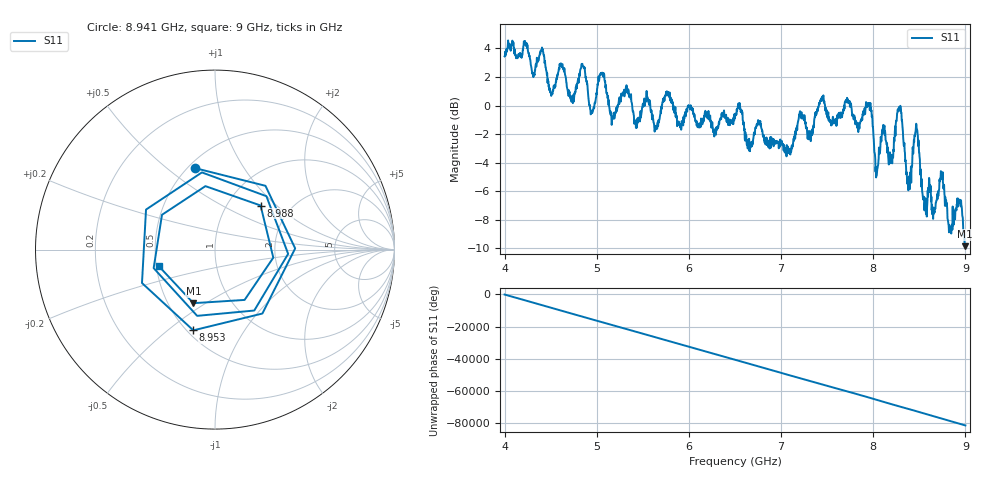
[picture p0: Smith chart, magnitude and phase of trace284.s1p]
! Created with skrf 1.8.0 (http://scikit-rf.org).
# Hz S RI R 50.0
!freq ReS11 ImS11
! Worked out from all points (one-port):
!   1601 points, 4 GHz to 9 GHz, reference 50 ohm
!   lowest |S11| = -9.8 dB at 8.997 GHz (marker M1), VSWR 1.95, Z = 33.3 - j22.2 ohm
!   |S11| at or under -10 dB: nowhere
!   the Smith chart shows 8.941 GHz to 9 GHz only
!   S11 on the Smith chart (normalised r, x): 8.941 GHz: 0.54, +0.63; 8.953 GHz: 0.54, -0.62; 8.988 GHz: 1.42, +0.80; 9 GHz: 0.52, -0.11
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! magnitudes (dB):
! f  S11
! 4 GHz  3.4
! 4.406 GHz  4.1
! 4.503 GHz  0.9
! 4.625 GHz  2.9
! 4.734 GHz  0.6
! 4.85 GHz  2.7
! 4.947 GHz  -0.5
! 5.056 GHz  2.3
! 5.166 GHz  -1.0
! 5.25 GHz  0.3
! 5.875 GHz  -1.2
! 6.5 GHz  -0.9
! 7.125 GHz  -2.7
! 7.438 GHz  0.5
! 7.75 GHz  0.2
! 7.959 GHz  0.0
! 8.044 GHz  -4.4
! 8.106 GHz  -1.5
! 8.191 GHz  -4.0
! 8.288 GHz  -0.2
! 8.375 GHz  -5.5
! 8.466 GHz  -1.3
! 8.562 GHz  -6.7
! 8.941 GHz  -6.6
! 8.953 GHz  -6.6
! 8.988 GHz  -9.0
! 8.997 GHz  -9.8
! 9 GHz  -9.8
